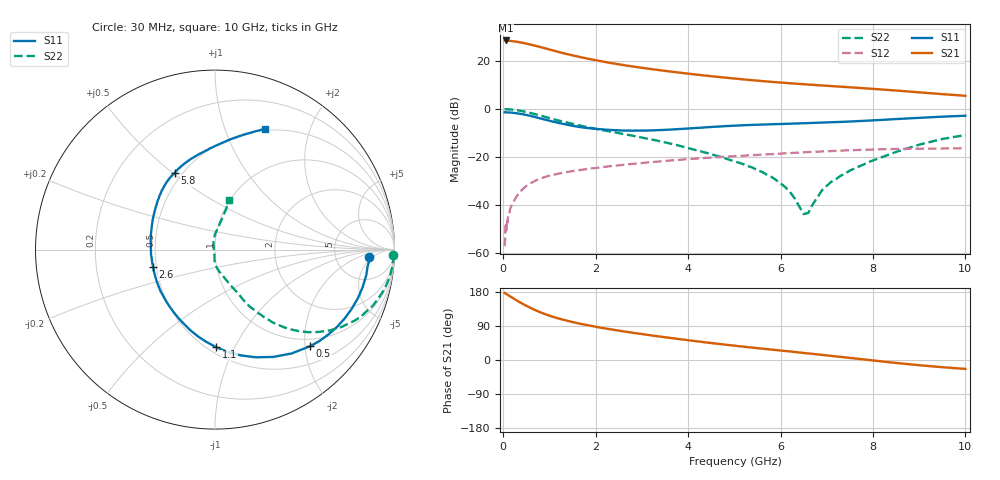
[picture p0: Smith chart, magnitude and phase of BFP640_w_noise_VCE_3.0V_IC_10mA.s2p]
! Infineon Technologies  Discrete & RF Semiconductors
! BFP640
! VCE =  3.0 V,  IC =  10 mA
! Common Emitter S-Parameters:  Apr 2013
# GHz  S  MA  R  50
!  f  S11  S21  S12  S22
! GHz  MAG  ANG  MAG  ANG  MAG  ANG  MAG  ANG
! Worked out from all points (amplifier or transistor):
!   99 points, 30 MHz to 10 GHz, reference 50 ohm
!   highest |S21| = 28.6 dB at 50 MHz (marker M1)
!   |S21| within 3 dB of that: start of sweep to 853.7 MHz
!   unconditionally stable (mu >= 1): 3.792 GHz to end of sweep
!   at 350 MHz: K = 0.15, MSG = 31.3 dB, |S12| = -34.8 dB
!   at 3.5 GHz: K = 0.98, MSG = 18.8 dB, |S12| = -21.6 dB
!   at 10 GHz: K = 1.10, MAG = 9.0 dB, |S12| = -16.3 dB
!   lowest NFmin = 0.64 dB at 450 MHz
!   S11 on the Smith chart (normalised r, x): 30 MHz: 12, -4; 500 MHz: 0.84, -2.11; 1.1 GHz: 0.55, -0.85; 2.6 GHz: 0.48, -0.11; 5.8 GHz: 0.45, +0.51; 10 GHz: 0.48, +1.39
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0.03  0.8594 -2.7  26.74 176.8  0.0014 97.4  0.9936 -1.6
0.05  0.8601 -4.5  26.93 175.6  0.0038 111.0  0.9947 -2.8
0.15  0.8493 -14.1  26.42 167.9  0.0085 83.1  0.985 -8.7
0.3  0.8183 -27.9  25.23 156.7  0.0158 75.7  0.9477 -17.0
0.4  0.7888 -36.9  24.3 149.6  0.0205 73.5  0.9106 -22.3
0.5  0.7557 -45.4  23.15 143.1  0.0251 68.9  0.8715 -27.1
0.6  0.719 -53.6  21.97 136.9  0.0289 65.1  0.8266 -31.4
0.8  0.6419 -69.2  19.67 126.0  0.0357 59.0  0.7356 -38.6
1  0.5736 -83.1  17.46 117.0  0.0411 54.5  0.6515 -44.2
1.1  0.5434 -89.4  16.44 113.1  0.0433 52.8  0.6129 -46.5
1.4  0.4701 -106.9  13.87 103.1  0.0494 48.4  0.5207 -51.5
1.7  0.4186 -123.1  11.95 94.8  0.0547 45.6  0.4477 -54.7
2.1  0.3819 -142.6  10.01 85.5  0.0612 42.6  0.3729 -58.6
2.6  0.3581 -164.3  8.285 75.6  0.0691 39.3  0.303 -61.2
3.4  0.3669 166.6  6.445 61.7  0.0817 34.1  0.2136 -66.8
4.3  0.4121 142.0  5.089 47.7  0.0951 27.9  0.1301 -77.9
5.1  0.457 127.2  4.25 36.5  0.106 22.5  0.0764 -89.5
5.8  0.4838 117.7  3.703 27.5  0.1155 17.8  0.039 -94.1
6.5  0.5091 109.4  3.306 18.6  0.1261 12.6  0.0065 -162.4
6.7  0.5167 106.8  3.205 16.1  0.1288 10.9  0.0105 128.7
8.5  0.6206 82.0  2.439 -7.8  0.1482 -5.0  0.1284 81.6
10  0.7288 67.4  1.896 -23.5  0.1524 -15.9  0.2882 74.2
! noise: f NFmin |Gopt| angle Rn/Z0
0.45  0.64  0.26  10  0.04
0.9  0.66  0.25  17  0.05
1.5  0.67  0.22  29  0.06
1.9  0.7  0.18  48  0.07
2.4  0.74  0.16  59  0.07
3.5  0.87  0.13  71  0.09
5.5  1.09  0.21  -128  0.1
10  1.66  0.58  -60  0.4
